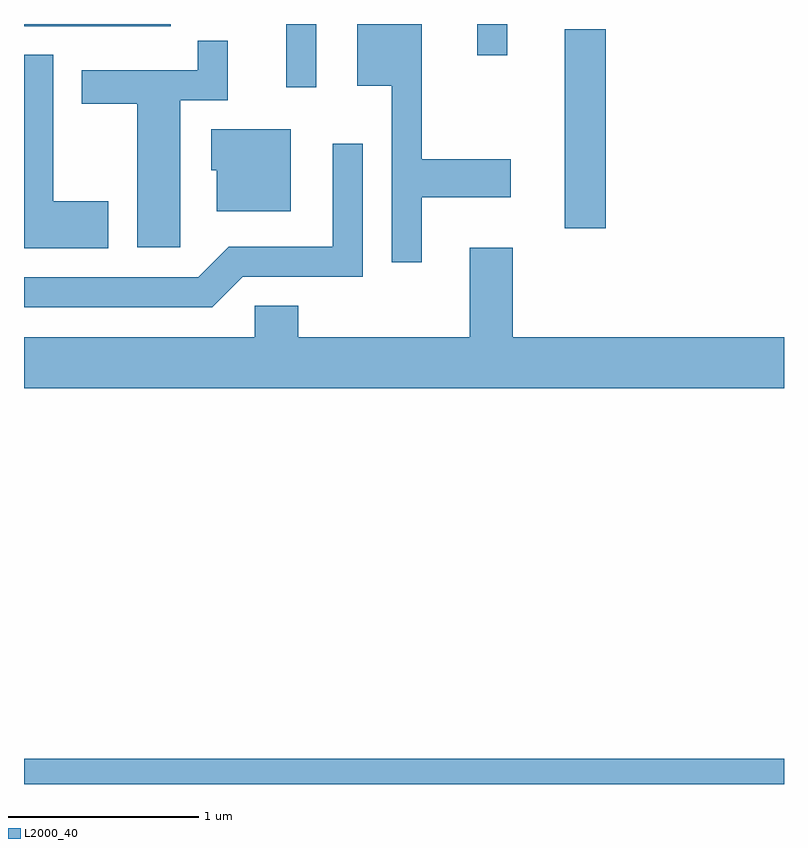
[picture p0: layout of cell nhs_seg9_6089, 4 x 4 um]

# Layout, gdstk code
import gdstk
lib = gdstk.Library(unit=1e-6, precision=1e-09)
def R(c, l, rs):  # rectangles x0, y0, x1, y1
    for r in rs: c.add(gdstk.rectangle(r[:2], r[2:], *l))
def P(c, l, *ps):  # polygons
    for p in ps: c.add(gdstk.Polygon(p, *l))
L2000_40 = (2000, 40)

nhs_seg9_6089 = lib.new_cell('nhs_seg9_6089')
R(nhs_seg9_6089, L2000_40, [(365.611,1956.432,369.611,1956.564), (368.456,1959.356,368.674,1960.404), (366.991,1960.098,367.149,1960.432), (367.996,1960.268,368.154,1960.432), (365.611,1960.421,366.383,1960.432)])
P(nhs_seg9_6089, L2000_40, [(367.704,1959.521),(368.174,1959.521),(368.174,1959.719),(367.704,1959.719),(367.704,1960.432),(367.366,1960.432),(367.366,1960.106),(367.546,1960.106),(367.546,1959.178),(367.704,1959.178)],
  [(366.434,1960.031),(366.684,1960.031),(366.684,1960.343),(366.526,1960.343),(366.526,1960.189),(365.916,1960.189),(365.916,1960.011),(366.206,1960.011),(366.206,1959.256),(366.434,1959.256)],
  [(366.054,1959.499),(365.764,1959.499),(365.764,1960.269),(365.611,1960.269),(365.611,1959.251),(366.054,1959.251)],
  [(367.014,1959.879),(366.596,1959.879),(366.596,1959.661),(366.626,1959.661),(366.626,1959.446),(367.014,1959.446)],
  [(366.762,1959.101),(367.394,1959.101),(367.394,1959.803),(367.236,1959.803),(367.236,1959.259),(366.689,1959.259),(366.529,1959.099),(365.611,1959.099),(365.611,1958.941),(366.602,1958.941)],
  [(369.611,1958.784),(368.184,1958.784),(368.184,1959.254),(367.956,1959.254),(367.956,1958.784),(367.054,1958.784),(367.054,1958.949),(366.826,1958.949),(366.826,1958.784),(365.611,1958.784),(365.611,1958.516),(369.611,1958.516)])

lib.write_gds('nhs_seg9_6089.gds')
